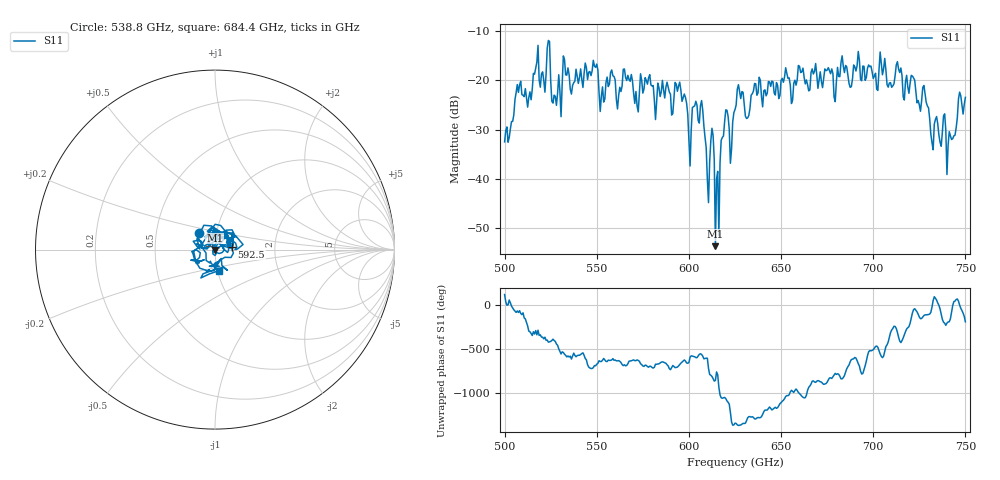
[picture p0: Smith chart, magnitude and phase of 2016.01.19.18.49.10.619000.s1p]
!Created with skrf (http://scikit-rf.org).
# GHz S RI R 50.0
!freq ReS11 ImS11
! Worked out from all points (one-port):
!   401 points, 500 GHz to 750 GHz, reference 50 ohm
!   lowest |S11| = -53.6 dB at 614.4 GHz (marker M1), VSWR 1.00, Z = 49.9 - j0.148 ohm
!   |S11| at or under -10 dB: start of sweep to end of sweep
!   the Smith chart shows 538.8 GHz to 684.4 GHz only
!   S11 on the Smith chart (normalised r, x): 538.8 GHz: 0.82, +0.16; 592.5 GHz: 1.20, +0.04; 684.4 GHz: 1.01, -0.24
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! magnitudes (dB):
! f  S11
! 500 GHz  -32.5
! 516.9 GHz  -17.6
! 520.6 GHz  -18.3
! 523.8 GHz  -12.0
! 526.9 GHz  -23.0
! 531.2 GHz  -20.7
! 538.8 GHz  -17.8
! 549.4 GHz  -17.4
! 552.5 GHz  -23.2
! 558.8 GHz  -19.1
! 562.5 GHz  -21.4
! 592.5 GHz  -20.5
! 593.8 GHz  -22.3
! 600 GHz  -32.3
! 606.9 GHz  -24.1
! 610 GHz  -40.1
! 612.5 GHz  -29.7
! 614.4 GHz  -53.6
! 615.6 GHz  -38.5
! 618.8 GHz  -31.3
! 623.1 GHz  -34.0
! 625 GHz  -26.0
! 656.2 GHz  -24.0
! 684.4 GHz  -18.5
! 687.5 GHz  -21.5
! 718.8 GHz  -21.4
! 741.2 GHz  -30.4
! 750 GHz  -23.5
